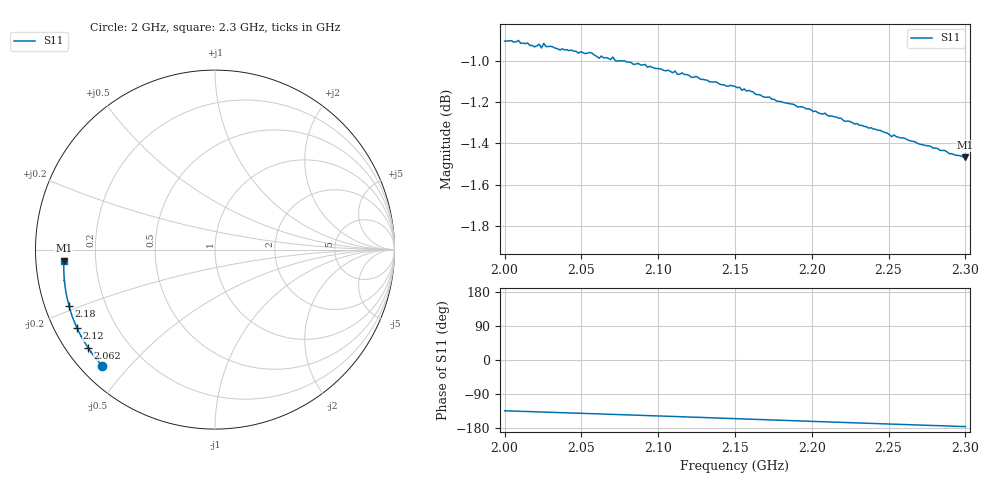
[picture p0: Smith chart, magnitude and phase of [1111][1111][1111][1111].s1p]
# HZ S RI R 50
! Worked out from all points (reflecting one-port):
!   201 points, 2 GHz to 2.3 GHz, reference 50 ohm
!   lowest |S11| = -1.5 dB at 2.3 GHz (marker M1), VSWR 11.87, Z = 4.22 - j1.83 ohm
!   phase of S11 starts at -134 deg and turns -42 deg over the sweep
!   S11 on the Smith chart (normalised r, x): 2 GHz: 0.06, -0.42; 2.062 GHz: 0.06, -0.34; 2.12 GHz: 0.07, -0.26; 2.18 GHz: 0.07, -0.18; 2.3 GHz: 0.08, -0.04
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2e9  -0.6272 -0.6472
2.015e9  -0.6466 -0.6266
2.0375e9  -0.6785 -0.5874
2.048e9  -0.691 -0.5693
2.0495e9  -0.691 -0.5703
2.0615e9  -0.7061 -0.5463
2.075e9  -0.7225 -0.5223
2.0915e9  -0.7401 -0.4936
2.0945e9  -0.7451 -0.4844
2.096e9  -0.7443 -0.4848
2.1125e9  -0.7614 -0.4504
2.12e9  -0.7697 -0.4353
2.15e9  -0.7939 -0.3766
2.1545e9  -0.7978 -0.3638
2.159e9  -0.8001 -0.3587
2.1665e9  -0.8059 -0.3395
2.18e9  -0.8132 -0.3128
2.1875e9  -0.8183 -0.2956
2.225e9  -0.8338 -0.217
2.2385e9  -0.8379 -0.1876
2.2415e9  -0.8375 -0.1859
2.243e9  -0.8389 -0.1774
2.2445e9  -0.8389 -0.1773
2.246e9  -0.84 -0.1693
2.2475e9  -0.8386 -0.1735
2.249e9  -0.8399 -0.1659
2.2625e9  -0.8412 -0.1398
2.3e9  -0.8422 -0.0622
